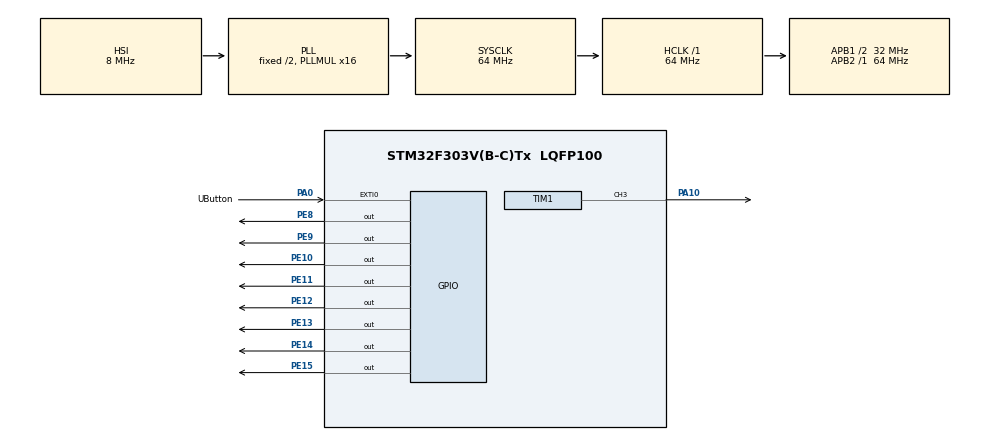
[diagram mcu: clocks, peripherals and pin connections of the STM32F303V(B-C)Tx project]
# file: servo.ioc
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Mcu.Family=STM32F3
Mcu.Name=STM32F303V(B-C)Tx
Mcu.Package=LQFP100
NVIC.EXTI0_IRQn=true\:0\:0\:false\:false\:true\:true\:true
NVIC.PriorityGroup=NVIC_PRIORITYGROUP_4
NVIC.TIM1_CC_IRQn=true\:0\:0\:false\:false\:true\:true\:true
PA0.GPIO_Label=UButton
PA0.Signal=GPXTI0
PA10.GPIO_Speed=GPIO_SPEED_FREQ_HIGH
PA10.Signal=S_TIM1_CH3
PE10.Signal=GPIO_Output
PE11.Signal=GPIO_Output
PE12.Signal=GPIO_Output
PE13.Signal=GPIO_Output
PE14.Signal=GPIO_Output
PE15.Signal=GPIO_Output
PE8.Signal=GPIO_Output
PE9.Signal=GPIO_Output
PF0-OSC_IN.Mode=HSE-External-Oscillator
PF0-OSC_IN.Signal=RCC_OSC_IN
PF1-OSC_OUT.Mode=HSE-External-Oscillator
PF1-OSC_OUT.Signal=RCC_OSC_OUT
ProjectManager.HeapSize=0x200
ProjectManager.StackSize=0x400
ProjectManager.TargetToolchain=SW4STM32
RCC.AHBFreq_Value=64000000
RCC.APB1CLKDivider=RCC_HCLK_DIV2
RCC.APB1Freq_Value=32000000
RCC.APB1TimFreq_Value=64000000
RCC.APB2Freq_Value=64000000
RCC.APB2TimFreq_Value=64000000
RCC.CortexFreq_Value=64000000
RCC.HCLKFreq_Value=64000000
RCC.HSE_VALUE=8000000
RCC.HSI_VALUE=8000000
RCC.LSE_VALUE=32768
RCC.PLLMUL=RCC_PLL_MUL16
RCC.SYSCLKFreq_VALUE=64000000
RCC.SYSCLKSourceVirtual=RCC_SYSCLKSOURCE_PLLCLK
RCC.USBFreq_Value=64000000
SH.S_TIM1_CH3.0=TIM1_CH3,PWM Generation3 CH3
TIM1.Channel-PWM\ Generation3\ CH3=TIM_CHANNEL_3
TIM1.Period=1000-1
TIM1.Prescaler=900-1
VP_TIM1_VS_ClockSourceINT.Mode=Internal
board=custom

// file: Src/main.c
/* USER CODE BEGIN Header */
/**
  ******************************************************************************
  * @file           : main.c
  * @brief          : Main program body
  ******************************************************************************
  * @attention
  *
  * <h2><center>&copy; Copyright (c) 2019 STMicroelectronics.
  * All rights reserved.</center></h2>
  *
  * This software component is licensed by ST under BSD 3-Clause license,
  * the "License"; You may not use this file except in compliance with the
  * License. You may obtain a copy of the License at:
  *                        opensource.org/licenses/BSD-3-Clause
  *
  ******************************************************************************
  */
/* USER CODE END Header */

#include "main.h"
#include "tim.h"
#include "gpio.h"

void SystemClock_Config(void);
/* USER CODE BEGIN PFP */
volatile int pressed = 0; // Ініціалізується нулем по замовчуванню, але так гарніше
volatile int button_is_pressed = 0;
void HAL_GPIO_EXTI_Callback(uint16_t GPIO_Pin)
{
 if( GPIO_Pin == UButton_Pin)
 {
  static uint32_t last_change_tick;
  if( HAL_GetTick() - last_change_tick < 50 )
  {
   return;
  }
  last_change_tick = HAL_GetTick();
  if(button_is_pressed)
  {
   button_is_pressed = 0;
   ++pressed;
  }else
  {
  ++pressed;
   button_is_pressed = 1;
  }
 }
}
/* USER CODE END PFP */

int main(void)
{

  /* MCU Configuration--------------------------------------------------------*/

  /* Reset of all peripherals, Initializes the Flash interface and the Systick. */
  HAL_Init();

  /* Configure the system clock */
  SystemClock_Config();

  /* Initialize all configured peripherals */
  MX_GPIO_Init();
  MX_TIM1_Init();

  /* Infinite loop */
  /* USER CODE BEGIN WHILE */
  HAL_TIM_PWM_Start(&htim1, TIM_CHANNEL_3);
  while (1)
    {
     // Замість бавитися в копіювання бітів, спочатку всі очищаємо.
     GPIOE->ODR &= ~(0xF << 8);
     // А потім встановлюємо лише потрібні.
     __disable_irq();  // Перш, ніж звертатися до змінної, що може бути
             // зміненою в обробнику переривань,
             // забороняємо їх!
//     if (button_is_pressed) {
//    	 TIM1->CCR3 = 10;
//     }else TIM1->CCR3 =170;
     TIM1->CCR3 = 100;
//     HAL_Delay(10);
//     TIM1->CCR3 = 170;
//     HAL_Delay(10);
//     HAL_Delay(1000);
//     for (int i = 25; i < 170; i++) {
//    	 TIM1->CCR3 = i;
//    	 for (int k = 0; k < 100000; k++){}
//    	 HAL_Delay(1);
//     }
     GPIOE->ODR |= (pressed & 0xF) << 8;
     __enable_irq(); // Завершивши звертання -- знову дозволяємо.
//     HAL_Delay(1000);
    /* USER CODE END WHILE */

    }
}

void SystemClock_Config(void)
{
  RCC_OscInitTypeDef RCC_OscInitStruct = {0};
  RCC_ClkInitTypeDef RCC_ClkInitStruct = {0};
  RCC_PeriphCLKInitTypeDef PeriphClkInit = {0};

  /** Initializes the CPU, AHB and APB busses clocks
  */
  RCC_OscInitStruct.OscillatorType = RCC_OSCILLATORTYPE_HSI;
  RCC_OscInitStruct.HSIState = RCC_HSI_ON;
  RCC_OscInitStruct.HSICalibrationValue = RCC_HSICALIBRATION_DEFAULT;
  RCC_OscInitStruct.PLL.PLLState = RCC_PLL_ON;
  RCC_OscInitStruct.PLL.PLLSource = RCC_PLLSOURCE_HSI;
  RCC_OscInitStruct.PLL.PLLMUL = RCC_PLL_MUL16;
  if (HAL_RCC_OscConfig(&RCC_OscInitStruct) != HAL_OK)
  {
    Error_Handler();
  }
  /** Initializes the CPU, AHB and APB busses clocks
  */
  RCC_ClkInitStruct.ClockType = RCC_CLOCKTYPE_HCLK|RCC_CLOCKTYPE_SYSCLK
                              |RCC_CLOCKTYPE_PCLK1|RCC_CLOCKTYPE_PCLK2;
  RCC_ClkInitStruct.SYSCLKSource = RCC_SYSCLKSOURCE_PLLCLK;
  RCC_ClkInitStruct.AHBCLKDivider = RCC_SYSCLK_DIV1;
  RCC_ClkInitStruct.APB1CLKDivider = RCC_HCLK_DIV2;
  RCC_ClkInitStruct.APB2CLKDivider = RCC_HCLK_DIV1;

  if (HAL_RCC_ClockConfig(&RCC_ClkInitStruct, FLASH_LATENCY_2) != HAL_OK)
  {
    Error_Handler();
  }
  PeriphClkInit.PeriphClockSelection = RCC_PERIPHCLK_TIM1;
  PeriphClkInit.Tim1ClockSelection = RCC_TIM1CLK_HCLK;
  if (HAL_RCCEx_PeriphCLKConfig(&PeriphClkInit) != HAL_OK)
  {
    Error_Handler();
  }
}

void Error_Handler(void)
{
}

/************************ (C) COPYRIGHT STMicroelectronics *****END OF FILE****/
